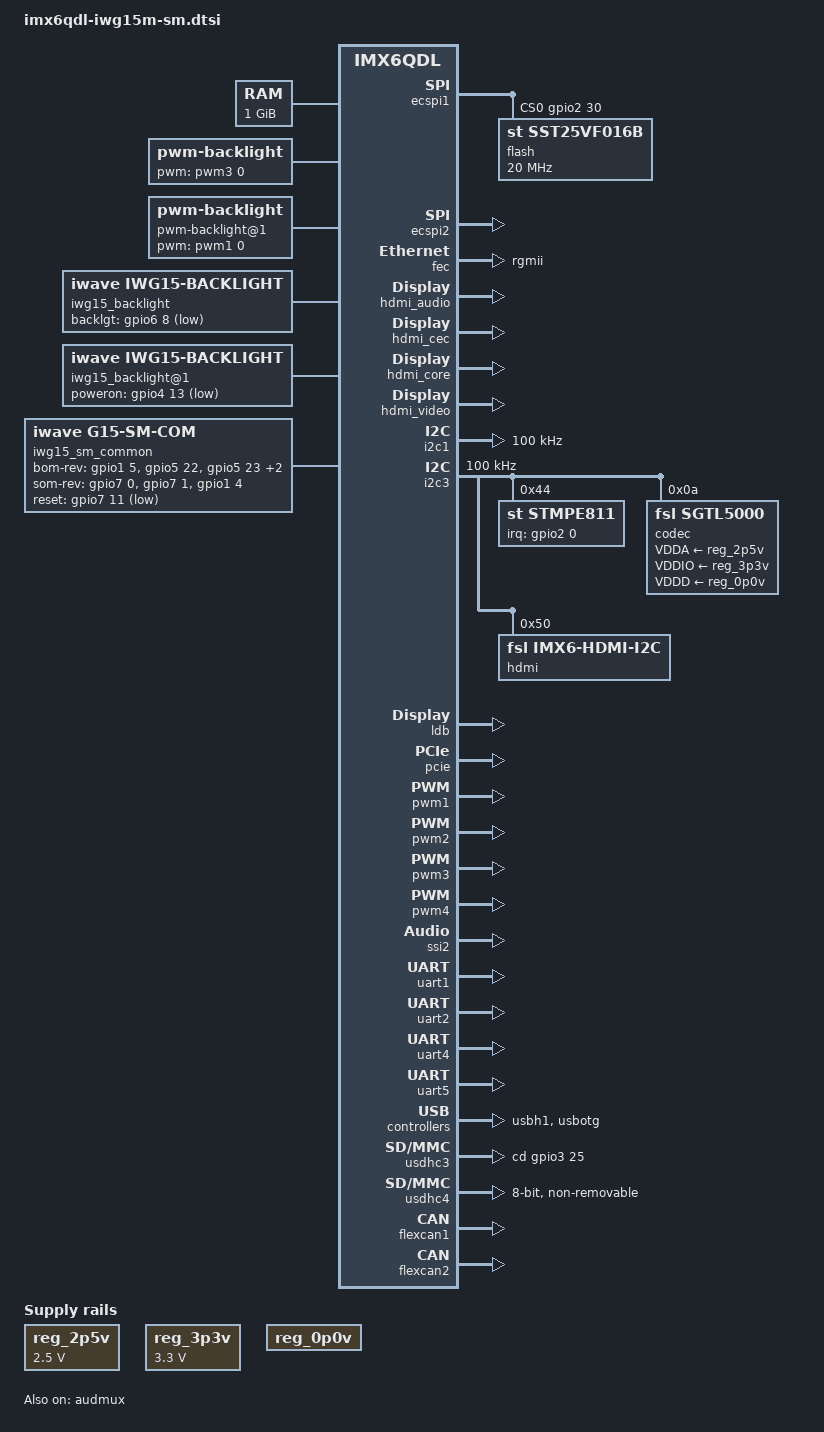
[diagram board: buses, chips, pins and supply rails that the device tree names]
/*
 * Copyright (c) 2014 iWave Systems Technologies Pvt. Ltd.
 *
 * The code contained herein is licensed under the GNU General Public
 * License. You may obtain a copy of the GNU General Public License
 * Version 2 or later at the following locations:
 *
 * http://www.opensource.org/licenses/gpl-license.html
 * http://www.gnu.org/copyleft/gpl.html
 */

/ {
	aliases {
		mxcfb0 = &mxcfb1;
		mxcfb1 = &mxcfb2;
	};

	memory {
		reg = <0x10000000 0x40000000>;
	};

	regulators {
		compatible = "simple-bus";

		reg_2p5v: 2p5v {
			compatible = "regulator-fixed";
			regulator-name = "2P5V";
			regulator-min-microvolt = <2500000>;
			regulator-max-microvolt = <2500000>;
			regulator-always-on;
		};

		reg_3p3v: 3p3v {
			compatible = "regulator-fixed";
			regulator-name = "3P3V";
			regulator-min-microvolt = <3300000>;
			regulator-max-microvolt = <3300000>;
			regulator-always-on;
		};

		reg_0p0v: 0p0v {
			compatible = "regulator-fixed";
			regulator-name = "0P0V";
			regulator-min-microvolt = <0000000>;
			regulator-max-microvolt = <0000000>;
			regulator-always-on;
		};

	};

	sound-hdmi {
		compatible = "fsl,imx6q-audio-hdmi",
			     "fsl,imx-audio-hdmi";
		model = "imx-audio-hdmi";
		hdmi-controller = <&hdmi_audio>;
	};

	sound {
		compatible = "fsl,imx6q","fsl,imx-audio-sgtl5000";
		model = "imx6-audio-sgtl5000";
		cpu-dai = <&ssi2>;
		/*ssi-controller = <&ssi2>;*/
		audio-codec = <&codec>;
		audio-routing =
			"MIC_IN", "Mic Jack",
			"Mic Jack", "Mic Bias",
			"Headphone Jack", "HP_OUT";
		mux-int-port = <2>;
		mux-ext-port = <4>;
	};

	mxcfb1: fb@0 {
		compatible = "fsl,mxc_sdc_fb";
		disp_dev = "lcd";
		interface_pix_fmt = "RGB24";
		mode_str ="WQVGA";
		default_bpp = <16>;
		int_clk = <0>;
		late_init = <0>;
		status = "okay";
	};

	mxcfb2: fb@1 {
		compatible = "fsl,mxc_sdc_fb";
		disp_dev = "hdmi";
		interface_pix_fmt = "RGB24";
		mode_str ="1920x1080M@60";
		default_bpp = <24>;
		int_clk = <0>;
		late_init = <0>;
		status = "okay";
	};

	mxcfb3: fb@2 {
		compatible = "fsl,mxc_sdc_fb";
		disp_dev = "ldb";
		interface_pix_fmt = "RGB666";
		default_bpp = <16>;
		int_clk = <0>;
		late_init = <0>;
		status = "disabled";
	};

	mxcfb4: fb@3 {
		compatible = "fsl,mxc_sdc_fb";
		disp_dev = "lcd";
		interface_pix_fmt = "RGB666";
		mode_str ="LCD-WVGA";
		default_bpp = <24>;
		int_clk = <0>;
		late_init = <0>;
		status = "disabled";
	};

	lcd@0 {
		compatible = "fsl,lcd";
		ipu_id = <0>;
		disp_id = <0>;
		default_ifmt = "RGB565";
		pinctrl-names = "default";
		pinctrl-0 = <&pinctrl_ipu1_4>;
		status = "okay";
	};

	pwm-backlight {
		compatible = "pwm-backlight";
		pwms = <&pwm3 0 5000000>;
		brightness-levels = <
			0  1  2  3  4  5  6  7  8  9
			10 11 12 13 14 15 16 17 18 19
			20 21 22 23 24 25 26 27 28 29
			30 31 32 33 34 35 36 37 38 39
			40 41 42 43 44 45 46 47 48 49
			50 51 52 53 54 55 56 57 58 59
			60 61 62 63 64 65 66 67 68 69
			70 71 72 73 74 75 76 77 78 79
			80 81 82 83 84 85 86 87 88 89
			90 91 92 93 94 95 96 97 98 99
			100
			>;
		default-brightness-level = <50>;
	};

        pwm-backlight@1 {
                compatible = "pwm-backlight";
                pwms = <&pwm1 0 5000000>;
                brightness-levels = <
                        0  1  2  3  4  5  6  7  8  9
                        10 11 12 13 14 15 16 17 18 19
                        20 21 22 23 24 25 26 27 28 29
                        30 31 32 33 34 35 36 37 38 39
                        40 41 42 43 44 45 46 47 48 49
                        50 51 52 53 54 55 56 57 58 59
                        60 61 62 63 64 65 66 67 68 69
                        70 71 72 73 74 75 76 77 78 79
                        80 81 82 83 84 85 86 87 88 89
                        90 91 92 93 94 95 96 97 98 99
                        100
                        >;
                default-brightness-level = <50>;
        };

	v4l2_out {
		compatible = "fsl,mxc_v4l2_output";
		status = "okay";
	};

        iwg15_backlight {
                compatible = "iwave,iwg15-backlight";
                backlgt-gpios = <&gpio6 8 1>;
                status = "okay";
        };

        iwg15_backlight@1 {
                compatible = "iwave,iwg15-backlight";
                poweron-gpios = <&gpio4 13 1>;
                status = "okay";
        };

	unused_gpios: unused_gpios {
		compatible = "iwave,unused-gpios";
		status = "okay";
	};

	iwg15_sm_common {
		compatible = "iwave,g15-sm-com";
		bom-rev-gpios = <&gpio1 5 0 &gpio5 22 0 &gpio5 23 0 &gpio5 24 0 &gpio5 25 0>;
		som-rev-gpios = <&gpio7 0 0  &gpio7 1 0  &gpio1 4 0>;

                reset-gpios = <&gpio7 11 1>;
                status = "okay";
        };

	ramoops_device {
		compatible = "fsl,mxc_ramoops";
		record_size = <524288>; /*512K*/
		console_size = <262144>; /*256K*/
		ftrace_size = <262144>;  /*256K*/
		dump_oops = <1>;
		status = "okay";
	};
};

&audmux {
	pinctrl-names = "default";
	pinctrl-0 = <&pinctrl_audmux_4>;
	status = "okay";
};

&ecspi1 {
	fsl,spi-num-chipselects = <1>;
	cs-gpios = <&gpio2 30 0>;
	pinctrl-names = "default";
	pinctrl-0 = <&pinctrl_ecspi1_1 &pinctrl_ecspi1_cs_1>;
	status = "okay";

	flash: m25p80@0 {
		#address-cells = <1>;
		#size-cells = <1>;
		compatible = "st,sst25vf016b";
		spi-max-frequency = <20000000>;
		reg = <0>;
	};
};

&ecspi2 {
        fsl,spi-num-chipselects = <2>;
        cs-gpios = <&gpio2 27 0>, <&gpio5 29 0>;
        pinctrl-names = "default";
        pinctrl-0 = <&pinctrl_ecspi2_1 &pinctrl_ecspi2_cs_1>;
        status = "okay";
};

&fec {
	pinctrl-names = "default";
	pinctrl-0 = <&pinctrl_enet_1>;
	phy-mode = "rgmii";
	status = "okay";
};

&gpc {
	fsl,cpu_pupscr_sw2iso = <0xf>;
	fsl,cpu_pupscr_sw = <0xf>;
	fsl,cpu_pdnscr_iso2sw = <0x1>;
	fsl,cpu_pdnscr_iso = <0x1>;
	fsl,ldo-bypass = <1>; /* use ldo-bypass, u-boot will check it and configure */
	fsl,wdog-reset = <1>; /* watchdog select of reset source */
};

&hdmi_audio {
	status = "okay";
};

&hdmi_cec {
	pinctrl-names = "default";
	pinctrl-0 = <&pinctrl_hdmi_cec_2>;
	status = "okay";
};

&hdmi_core {
	ipu_id = <0>;
	disp_id = <1>;
	status = "okay";
};

&hdmi_video {
	fsl,phy_reg_vlev = <0x0294>;
	fsl,phy_reg_cksymtx = <0x800d>;
	status = "okay";
};

&mxcfb1 {
        status = "okay";
};

&mxcfb2 {
        status = "okay";
};

&i2c1 {
	clock-frequency = <100000>;
	pinctrl-names = "default";
	pinctrl-0 = <&pinctrl_i2c1_1>;
	status = "okay";

	};

&i2c3 {
        clock-frequency = <100000>;
        pinctrl-names = "default";
        pinctrl-0 = <&pinctrl_i2c3_4>;
        status = "okay";

/* STMPE811 touch screen controller */
        stmpe811@44 {
                compatible = "st,stmpe811";
                #address-cells = <1>;
                #size-cells = <0>;
                reg = <0x44>;
                interrupts = <0 2>;
                interrupt-parent = <&gpio2>;
                interrupt-controller;
                id = <0>;
                blocks = <0x5>;
                irq-trigger = <0x1>;

                stmpe_touchscreen {
                        compatible = "st,stmpe-ts";
                        reg = <0>;
                        /* 3.25 MHz ADC clock speed */
                        st,adc-freq = <3>;
                        /* 8 sample average control */
                        st,ave-ctrl = <2>;
                        /* 7 length fractional part in z */
                        st,fraction-z = <7>;
                        /*
                         * 50 mA typical 80 mA max touchscreen drivers
                         * current limit value
                         */
                        st,i-drive = <0>;
                        /* 12-bit ADC */
                        st,mod-12b = <1>;
                        /* internal ADC reference */
                        st,ref-sel = <0>;
                        /* ADC converstion time: 80 clocks */
                        st,sample-time = <4>;
                        /* 1 ms panel driver settling time */
                        st,settling = <3>;
                        /* 5 ms touch detect interrupt delay */
                        st,touch-det-delay = <4>;
                        };
                };

        codec: sgtl5000@0a {
                        compatible = "fsl,sgtl5000";
                        reg = <0x0a>;
                        clocks = <&clks 201>;
                        VDDA-supply = <&reg_2p5v>;
                        VDDIO-supply = <&reg_3p3v>;
                        VDDD-supply = <&reg_0p0v>;
                };

	hdmi: edid@50 {
		compatible = "fsl,imx6-hdmi-i2c";
		reg = <0x50>;
	};

};

&ldb {
	status = "okay";
	lvds-channel@0 {
		fsl,data-mapping = "spwg";
		fsl,data-width = <18>;
		primary;
                crtc = "ipu2-di0";
		status = "okay";

		display-timings {
			native-mode = <&timing1>;
			timing1: ldb-svga {
				clock-frequency = <40000000>;
				hactive = <800>;
				vactive = <600>;
				hback-porch = <8>;
				hfront-porch = <8>;
				vback-porch = <6>;
				vfront-porch = <6>;
				hsync-len = <8>;
				vsync-len = <6>;
			};
		};
	};
};

&pcie {
	status = "okay";
};

&pwm1 {
	pinctrl-names = "default";
	pinctrl-0 = <&pinctrl_pwm1_1>;
	status = "okay";
};

&pwm2 {
	pinctrl-names = "default";
	pinctrl-0 = <&pinctrl_pwm2_4>;
	status = "okay";
};

&pwm3 {
	pinctrl-names = "default";
	pinctrl-0 = <&pinctrl_pwm3_4>;
	status = "okay";
};

&pwm4 {
	pinctrl-names = "default";
	pinctrl-0 = <&pinctrl_pwm4_4>;
	status = "okay";
};

&ssi2 {
	fsl,mode = "i2s-slave";
	status = "okay";
};

&uart1 {
	pinctrl-names = "default";
	pinctrl-0 = <&pinctrl_uart1_1>;
	fsl,uart-has-rtscts;
	status = "okay";
};

&uart2 {
	pinctrl-names = "default";
	pinctrl-0 = <&pinctrl_uart2_1>;
	status = "okay";
};

&uart4 {
	pinctrl-names = "default";
	pinctrl-0 = <&pinctrl_uart4_4>;
	fsl,uart-has-rtscts;
	status = "okay";
};

&uart5 {
	pinctrl-names = "default";
	pinctrl-0 = <&pinctrl_uart5_4>;
	fsl,uart-has-rtscts;
	status = "okay";
};

&usbh1 {
	status = "okay";
};

&usbotg {
	pinctrl-names = "default";
	pinctrl-0 = <&pinctrl_usbotg_4>;
	disable-over-current;
	status = "okay";
};

&usdhc3 {
	pinctrl-names = "default";
	pinctrl-0 = <&pinctrl_usdhc3_4>;
	cd-gpios = <&gpio3 25 0>;
	no-1-8-v;
	keep-power-in-suspend;
	enable-sdio-wakeup;
	status = "okay";
};

&usdhc4 {
	pinctrl-names = "default";
	pinctrl-0 = <&pinctrl_usdhc4_1>;
	bus-width = <8>;
	non-removable;
	no-1-8-v;
	keep-power-in-suspend;
	status = "okay";
};

&flexcan1 {
	pinctrl-names = "default";
        trx-en-gpio = <&gpio6 10 1>;
	pinctrl-0 = <&pinctrl_flexcan1_4>;
	status = "okay";
};

&flexcan2 {
	pinctrl-names = "default";
	pinctrl-0 = <&pinctrl_flexcan2_1>;
	status = "okay";
};
